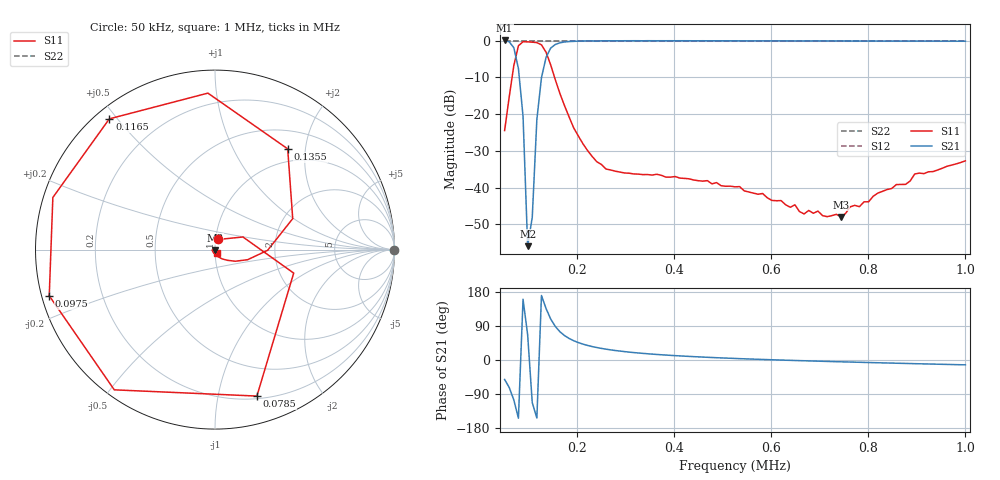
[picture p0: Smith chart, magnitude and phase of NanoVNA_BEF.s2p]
! File created by NanoVNA (https://gen111.taobao.com/)
! Start 50000Hz  Stop 1000000Hz  Points 101
# HZ S MA R 50
! S - Parameter data, F S11 S21 (S12 and S22 are invalid)
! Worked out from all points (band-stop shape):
!   101 points, 50 kHz to 1 MHz, reference 50 ohm
!   highest |S21| = 0.01 dB at 50 kHz (marker M1); lowest = -55.9 dB at 97.5 kHz (marker M2)
!   |S21| within 3 dB of the highest: start of sweep to 70.74 kHz; 141.5 kHz to end of sweep
!   lowest |S11| = -48.0 dB at 743.5 kHz (marker M3), VSWR 1.01, Z = 49.9 - j0.381 ohm
!   |S11| at or under -10 dB: start of sweep to 65.44 kHz; 152.9 kHz to end of sweep
!   |S22| runs from 0.0 to 0.0 dB; largest |S21 - S12| = 1.5
!   S11 on the Smith chart (normalised r, x): 50 kHz: 1.03, +0.12; 78.5 kHz: 0.22, -1.30; 97.5 kHz: 0.02, -0.14; 116.5 kHz: 0.04, +0.48; 135.5 kHz: 0.78, +1.68; 1 MHz: 1.02, -0.04
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50000  0.05959 71.4  1.002 -51.4  1 0.0  1 0.0
59500  0.1708 24.3  0.9598 -72.5  1 0.0  1 0.0
69000  0.4575 -16.6  0.7989 -105.3  1 0.0  1 0.0
78500  0.8488 -74.0  0.4159 -153.7  1 0.0  1 0.0
88000  0.962 -125.7  0.09342 160.2  1 0.0  1 0.0
97500  0.9587 -164.4  0.001597 66.6  1 0.0  1 0.0
107000  0.9489 162.2  0.003947 -112.5  1 0.0  1 0.0
116500  0.9366 128.9  0.08447 -153.2  1 0.0  1 0.0
126000  0.8727 92.6  0.3124 170.2  1 0.0  1 0.0
135500  0.6922 54.2  0.5913 135.7  1 0.0  1 0.0
145000  0.4661 21.7  0.7891 108.2  1 0.0  1 0.0
154500  0.2929 -0.8  0.8828 88.5  1 0.0  1 0.0
183000  0.09124 -40.8  0.9687 56.8  1 0.0  1 0.0
211500  0.03944 -70.2  0.9845 41.9  1 0.0  1 0.0
259000  0.01789 -119.5  0.9912 28.6  1 0.0  1 0.0
373000  0.01471 -171.1  0.9927 13.8  1 0.0  1 0.0
525000  0.01023 176.4  0.9909 4.1  1 0.0  1 0.0
686500  0.004472 -146.9  0.9866 -2.7  1 0.0  1 0.0
743500  0.00398 -106.2  0.9857 -4.8  1 0.0  1 0.0
848000  0.009719 -67.9  0.9833 -8.1  1 0.0  1 0.0
895500  0.0153 -61.2  0.9811 -9.7  1 0.0  1 0.0
1000000  0.02312 -67.4  0.9786 -12.8  1 0.0  1 0.0
